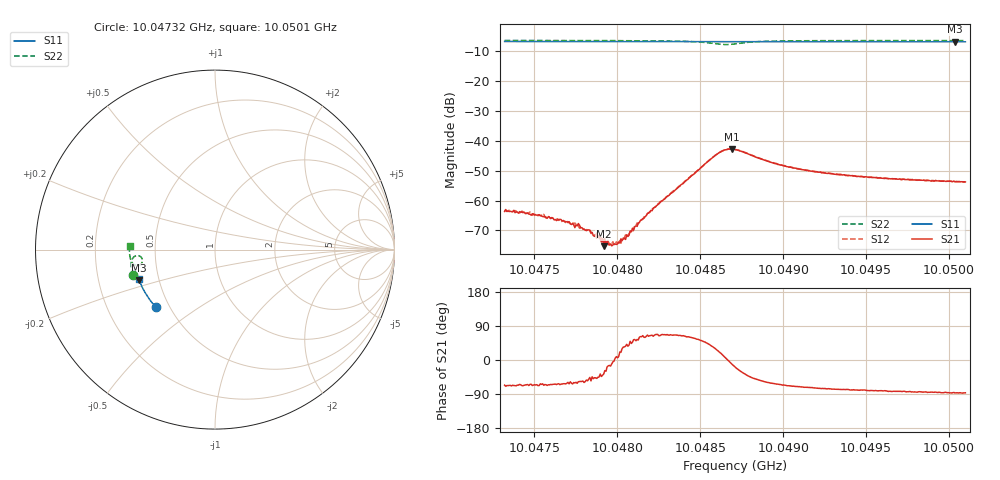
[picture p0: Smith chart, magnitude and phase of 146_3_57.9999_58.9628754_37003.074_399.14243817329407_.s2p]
#  HZ  S  RI  R  50.00
! Rohde & Schwarz Vector Network Analyzer
! Rohde-Schwarz,ZNB20-2Port,1311601062101988,3.16
! Created: UTC 3/21/2024, 12:56:50 AM
! freq[Hz]  re:S11  im:S11  re:S21  im:S21  re:S12  im:S12  re:S22  im:S22
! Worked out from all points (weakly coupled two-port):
!   401 points, 10.04732 GHz to 10.0501 GHz, reference 50 ohm
!   highest |S21| = -42.73 dB at 10.04869 GHz (marker M1); lowest = -75.3 dB at 10.04792 GHz (marker M2)
!   lowest |S11| = -6.8 dB at 10.05004 GHz (marker M3), VSWR 2.67, Z = 19.3 - j8.3 ohm
!   |S11| at or under -10 dB: nowhere
!   |S22| runs from -7.8 to -6.4 dB; largest |S21 - S12| = 0.00049
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1.004732e10  -0.3289 -0.3221  0.000264 -0.000602  0.000313 -0.000612  -0.4567 -0.1437
1.0047542e10  -0.3387 -0.3108  0.000239 -0.000498  0.000257 -0.00051  -0.4607 -0.1285
1.004766e10  -0.3437 -0.3049  0.000215 -0.000431  0.000236 -0.000372  -0.4624 -0.1199
1.0047744e10  -0.3474 -0.3006  0.000174 -0.000307  0.000245 -0.000342  -0.4636 -0.1139
1.0047785e10  -0.3491 -0.2985  0.000193 -0.000296  0.000218 -0.000292  -0.4643 -0.1106
1.0047834e10  -0.351 -0.2959  0.000221 -0.000229  0.000212 -0.000234  -0.4648 -0.107
1.0047883e10  -0.353 -0.2934  0.000168 -0.000171  0.000167 -0.000152  -0.4655 -0.1032
1.0047917e10  -0.3544 -0.2916  0.000138 -0.000104  0.000227 -8.15e-05  -0.4657 -0.1007
1.0047966e10  -0.3564 -0.2889  0.000172 -3.05e-05  0.00019 -2.71e-05  -0.4662 -0.0966
1.0048015e10  -0.3584 -0.2864  0.000183 7.03e-05  0.000204 9.44e-05  -0.4666 -0.0926
1.0048056e10  -0.3601 -0.2841  0.000201 0.000177  0.000187 0.000179  -0.4669 -0.089
1.004814e10  -0.3633 -0.2799  0.00022 0.000411  0.00021 0.000412  -0.4669 -0.0814
1.0048251e10  -0.3676 -0.2739  0.000391 0.000791  0.000325 0.000849  -0.4663 -0.0702
1.0048591e10  -0.3796 -0.2548  0.00499 0.00285  0.00481 0.00315  -0.4213 -0.0356
1.004864e10  -0.3811 -0.2521  0.00677 0.00134  0.0067 0.00173  -0.4066 -0.0499
1.0048688e10  -0.3826 -0.2498  0.00719 -0.00127  0.00728 -0.000834  -0.4065 -0.0722
1.0048709e10  -0.3834 -0.2487  0.0068 -0.00225  0.00697 -0.0018  -0.4116 -0.08
1.0048952e10  -0.3921 -0.235  0.0019 -0.00371  0.00215 -0.00363  -0.463 -0.0711
1.0049175e10  -0.3992 -0.2221  0.000921 -0.00296  0.00107 -0.00294  -0.4721 -0.0479
1.004964e10  -0.4125 -0.1943  0.000309 -0.00231  0.000455 -0.00231  -0.4764 -0.0101
1.0050036e10  -0.4222 -0.1703  0.000115 -0.00206  0.000218 -0.00206  -0.4764 0.0182
1.0050098e10  -0.4238 -0.1665  0.000124 -0.00205  0.00021 -0.00205  -0.4763 0.0227
